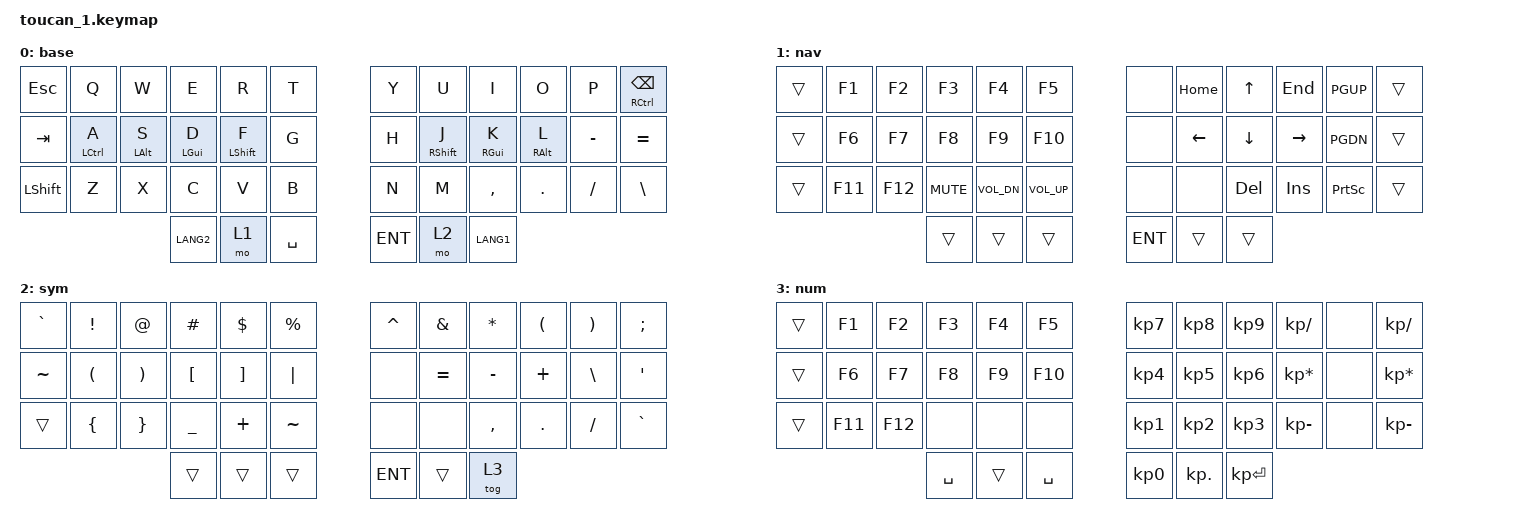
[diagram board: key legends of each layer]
#include <behaviors.dtsi>
#include <dt-bindings/zmk/keys.h>
#include <dt-bindings/zmk/bt.h>
#include <dt-bindings/zmk/outputs.h>

/ {
    keymap {
        compatible = "zmk,keymap";

        base_layer: base {
            bindings = <
                &kp ESC    &kp Q      &kp W      &kp E      &kp R        &kp T    &kp Y    &kp U        &kp I      &kp O      &kp P      &mt RCTRL BSPC
                &kp TAB    &mt LCTRL A &mt LALT S &mt LGUI D &mt LSHFT F &kp G    &kp H    &mt RSHFT J &mt RGUI K &mt RALT L &kp MINUS  &kp EQUAL
                &kp LSHFT &kp Z      &kp X      &kp C      &kp V        &kp B    &kp N    &kp M        &kp COMMA  &kp DOT    &kp FSLH   &kp BSLH
                &kp LANG2  &mo 1      &kp SPACE                                            &kp ENT      &mo 2      &kp LANG1
            >;
        };

        nav_layer: nav {
            bindings = <
                &trans &kp F1  &kp F2  &kp F3       &kp F4       &kp F5       &none  &kp HOME &kp UP   &kp END   &kp PGUP  &trans
                &trans &kp F6  &kp F7  &kp F8       &kp F9       &kp F10      &none  &kp LEFT &kp DOWN &kp RIGHT &kp PGDN  &trans
                &trans &kp F11 &kp F12 &kp K_MUTE   &kp K_VOL_DN &kp K_VOL_UP &none &none    &kp DEL  &kp INS   &kp PSCRN &trans
                &trans &trans  &trans                                                  &kp ENT  &trans   &trans
            >;
        };

        sym_layer: sym {
            bindings = <
                &kp GRAVE &kp EXCL &kp AT   &kp HASH  &kp DLLR  &kp PRCNT  &kp CARET &kp AMPS  &kp STAR  &kp LPAR  &kp RPAR  &kp SEMI
                &kp TILDE &kp LPAR &kp RPAR &kp LBKT  &kp RBKT  &kp PIPE   &none     &kp EQUAL &kp MINUS &kp PLUS  &kp BSLH  &kp SQT
                &trans    &kp LBRC &kp RBRC &kp UNDER &kp PLUS  &kp TILDE  &none     &none     &kp COMMA &kp DOT   &kp FSLH  &kp GRAVE
                &trans    &trans   &trans                                    &kp ENT   &trans    &tog 3
            >;
        };

        num_layer: num {
            bindings = <
                &trans    &kp F1  &kp F2  &kp F3 &kp F4 &kp F5   &kp KP_N7 &kp KP_N8  &kp KP_N9 &kp KP_DIVIDE   &none &kp KP_DIVIDE
                &trans    &kp F6  &kp F7  &kp F8 &kp F9 &kp F10  &kp KP_N4 &kp KP_N5  &kp KP_N6 &kp KP_MULTIPLY &none &kp KP_MULTIPLY
                &trans    &kp F11 &kp F12 &none  &none  &none     &kp KP_N1 &kp KP_N2  &kp KP_N3 &kp KP_MINUS    &none &kp KP_MINUS
                &kp SPACE &trans  &kp SPACE                        &kp KP_N0 &kp KP_DOT &kp KP_ENTER
            >;
        };
    };
};
